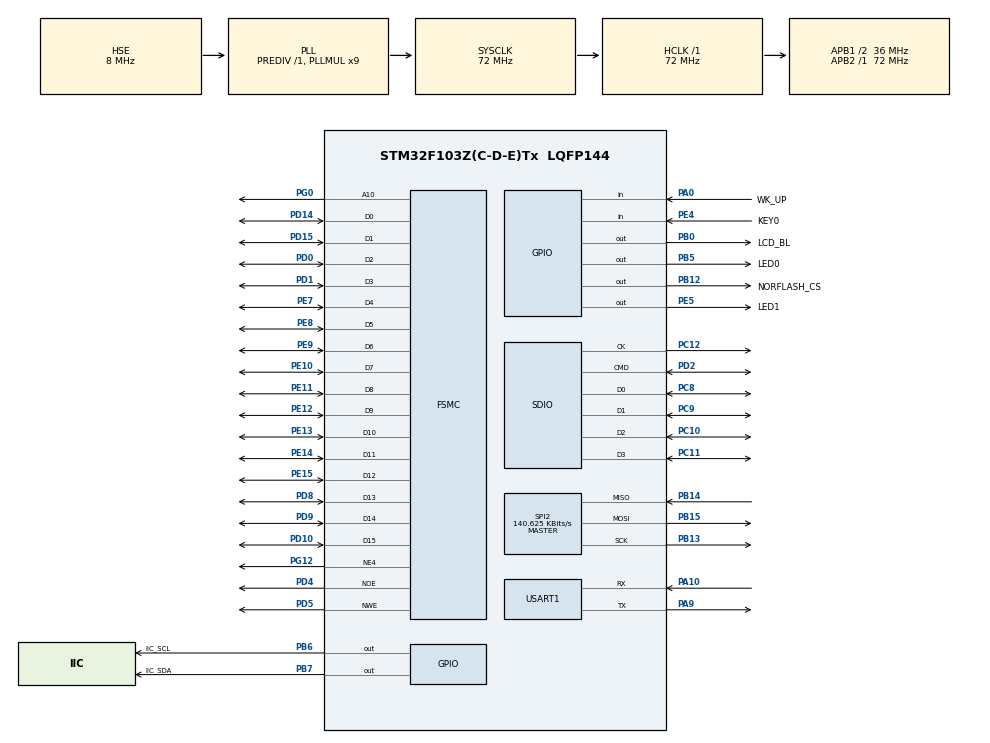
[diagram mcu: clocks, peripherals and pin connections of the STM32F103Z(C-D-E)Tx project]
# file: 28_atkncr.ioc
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FATFS._CODE_PAGE=936
FATFS._USE_LABEL=1
FATFS._USE_LFN=3
FSMC.AddressSetupTime1=0
FSMC.DataSetupTime1=15
FSMC.ExtendedAddressSetupTime1=0
FSMC.ExtendedDataSetupTime1=1
FSMC.ExtendedMode1=FSMC_EXTENDED_MODE_ENABLE
Mcu.Family=STM32F1
Mcu.Name=STM32F103Z(C-D-E)Tx
Mcu.Package=LQFP144
NVIC.PriorityGroup=NVIC_PRIORITYGROUP_2
NVIC.USART1_IRQn=true\:2\:2\:true\:false\:true\:true\:true\:true
OSC_IN.Mode=HSE-External-Oscillator
OSC_IN.Signal=RCC_OSC_IN
OSC_OUT.Mode=HSE-External-Oscillator
OSC_OUT.Signal=RCC_OSC_OUT
PA0-WKUP.GPIO_Label=WK_UP
PA0-WKUP.GPIO_PuPd=GPIO_PULLDOWN
PA0-WKUP.Signal=GPIO_Input
PA10.Mode=Asynchronous
PA10.Signal=USART1_RX
PA13.Mode=Serial_Wire
PA13.Signal=SYS_JTMS-SWDIO
PA14.Mode=Serial_Wire
PA14.Signal=SYS_JTCK-SWCLK
PA9.Mode=Asynchronous
PA9.Signal=USART1_TX
PB0.GPIO_Label=LCD_BL
PB0.GPIO_PuPd=GPIO_PULLUP
PB0.GPIO_Speed=GPIO_SPEED_FREQ_HIGH
PB0.PinState=GPIO_PIN_SET
PB0.Signal=GPIO_Output
PB12.GPIO_Label=NORFLASH_CS
PB12.GPIO_PuPd=GPIO_PULLUP
PB12.GPIO_Speed=GPIO_SPEED_FREQ_HIGH
PB12.PinState=GPIO_PIN_SET
PB12.Signal=GPIO_Output
PB13.Mode=Full_Duplex_Master
PB13.Signal=SPI2_SCK
PB14.Mode=Full_Duplex_Master
PB14.Signal=SPI2_MISO
PB15.Mode=Full_Duplex_Master
PB15.Signal=SPI2_MOSI
PB5.GPIO_Label=LED0
PB5.GPIO_PuPd=GPIO_PULLDOWN
PB5.GPIO_Speed=GPIO_SPEED_FREQ_HIGH
PB5.PinState=GPIO_PIN_SET
PB5.Signal=GPIO_Output
PB6.GPIO_Label=IIC_SCL
PB6.GPIO_PuPd=GPIO_PULLUP
PB6.GPIO_Speed=GPIO_SPEED_FREQ_HIGH
PB6.PinState=GPIO_PIN_SET
PB6.Signal=GPIO_Output
PB7.GPIO_Label=IIC_SDA
PB7.GPIO_PuPd=GPIO_PULLUP
PB7.GPIO_Speed=GPIO_SPEED_FREQ_HIGH
PB7.PinState=GPIO_PIN_SET
PB7.Signal=GPIO_Output
PC10.Mode=SD_4_bits_Wide_bus
PC10.Signal=SDIO_D2
PC11.Mode=SD_4_bits_Wide_bus
PC11.Signal=SDIO_D3
PC12.Mode=SD_4_bits_Wide_bus
PC12.Signal=SDIO_CK
PC14-OSC32_IN.Mode=LSE-External-Oscillator
PC14-OSC32_IN.Signal=RCC_OSC32_IN
PC15-OSC32_OUT.Mode=LSE-External-Oscillator
PC15-OSC32_OUT.Signal=RCC_OSC32_OUT
PC8.Mode=SD_4_bits_Wide_bus
PC8.Signal=SDIO_D0
PC9.Mode=SD_4_bits_Wide_bus
PC9.Signal=SDIO_D1
PD0.Signal=FSMC_D2_DA2
PD1.Signal=FSMC_D3_DA3
PD10.Signal=FSMC_D15_DA15
PD14.Signal=FSMC_D0_DA0
PD15.Signal=FSMC_D1_DA1
PD2.Mode=SD_4_bits_Wide_bus
PD2.Signal=SDIO_CMD
PD4.Signal=FSMC_NOE
PD5.Signal=FSMC_NWE
PD8.Signal=FSMC_D13_DA13
PD9.Signal=FSMC_D14_DA14
PE10.Signal=FSMC_D7_DA7
PE11.Signal=FSMC_D8_DA8
PE12.Signal=FSMC_D9_DA9
PE13.Signal=FSMC_D10_DA10
PE14.Signal=FSMC_D11_DA11
PE15.Signal=FSMC_D12_DA12
PE4.GPIO_Label=KEY0
PE4.GPIO_PuPd=GPIO_PULLDOWN
PE4.Signal=GPIO_Input
PE5.GPIO_Label=LED1
PE5.GPIO_PuPd=GPIO_PULLDOWN
PE5.GPIO_Speed=GPIO_SPEED_FREQ_HIGH
PE5.PinState=GPIO_PIN_SET
PE5.Signal=GPIO_Output
PE7.Signal=FSMC_D4_DA4
PE8.Signal=FSMC_D5_DA5
PE9.Signal=FSMC_D6_DA6
PG0.Signal=FSMC_A10
PG12.Mode=NorPsramChipSelect4_1
PG12.Signal=FSMC_NE4
ProjectManager.HeapSize=0x1000
ProjectManager.StackSize=0x400
ProjectManager.TargetToolchain=STM32CubeIDE
RCC.AHBFreq_Value=72000000
RCC.APB1CLKDivider=RCC_HCLK_DIV2
RCC.APB1Freq_Value=36000000
RCC.APB1TimFreq_Value=72000000
RCC.APB2Freq_Value=72000000
RCC.APB2TimFreq_Value=72000000
RCC.HCLKFreq_Value=72000000
RCC.PLLMUL=RCC_PLL_MUL9
RCC.PLLSourceVirtual=RCC_PLLSOURCE_HSE
RCC.SYSCLKFreq_VALUE=72000000
RCC.SYSCLKSource=RCC_SYSCLKSOURCE_PLLCLK
RCC.USBFreq_Value=72000000
SDIO.ClockDiv=0x06
SDIO.HardwareFlowControl=SDIO_HARDWARE_FLOW_CONTROL_ENABLE
SH.FSMC_A10.0=FSMC_A10,A10_1
SH.FSMC_D0_DA0.0=FSMC_D0,16b-d1
SH.FSMC_D10_DA10.0=FSMC_D10,16b-d1
SH.FSMC_D11_DA11.0=FSMC_D11,16b-d1
SH.FSMC_D12_DA12.0=FSMC_D12,16b-d1
SH.FSMC_D13_DA13.0=FSMC_D13,16b-d1
SH.FSMC_D14_DA14.0=FSMC_D14,16b-d1
SH.FSMC_D15_DA15.0=FSMC_D15,16b-d1
SH.FSMC_D1_DA1.0=FSMC_D1,16b-d1
SH.FSMC_D2_DA2.0=FSMC_D2,16b-d1
SH.FSMC_D3_DA3.0=FSMC_D3,16b-d1
SH.FSMC_D4_DA4.0=FSMC_D4,16b-d1
SH.FSMC_D5_DA5.0=FSMC_D5,16b-d1
SH.FSMC_D6_DA6.0=FSMC_D6,16b-d1
SH.FSMC_D7_DA7.0=FSMC_D7,16b-d1
SH.FSMC_D8_DA8.0=FSMC_D8,16b-d1
SH.FSMC_D9_DA9.0=FSMC_D9,16b-d1
SH.FSMC_NOE.0=FSMC_NOE,Lcd1
SH.FSMC_NWE.0=FSMC_NWE,Lcd1
SPI2.BaudRatePrescaler=SPI_BAUDRATEPRESCALER_256
SPI2.CLKPhase=SPI_PHASE_2EDGE
SPI2.CLKPolarity=SPI_POLARITY_HIGH
SPI2.CalculateBaudRate=140.625 KBits/s
SPI2.Direction=SPI_DIRECTION_2LINES
SPI2.Mode=SPI_MODE_MASTER
SPI2.VirtualType=VM_MASTER
USART1.VirtualMode=VM_ASYNC
VP_FATFS_VS_Generic.Mode=User_defined
board=custom

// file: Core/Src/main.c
/* USER CODE BEGIN Header */
/**
 ****************************************************************************************************
 * @file        main.c
 * @author      ALIENTEK
 * @brief       handwriting recognition code
 * @license     Copyright (C) 2012-2024, ALIENTEK
 ****************************************************************************************************
 * @attention
 *
 * platform     : ALIENTEK M144-STM32F103 board
 * website      : www.alientek.com
 * forum        : www.openedv.com/forum.php
 *
 * change logs  :
 * version      data         notes
 * V1.0         20240410     the first version
 *
 ****************************************************************************************************
 */
/* USER CODE END Header */
#include "main.h"
#include "fatfs.h"
#include "sdio.h"
#include "spi.h"
#include "usart.h"
#include "gpio.h"
#include "fsmc.h"

/* USER CODE BEGIN Includes */
#include "../../BSP/LED/led.h"
#include "../../BSP/KEY/key.h"
#include "../../BSP/LCD/lcd.h"
#include "../../SYSTEM/delay/delay.h"
#include "../../BSP/NORFLASH/norflash.h"
#include "../../BSP/TOUCH/touch.h"
#include "../../ATK_Middlewares/MALLOC/malloc.h"
#include "../../ATK_Middlewares/ATKNCR/atk_ncr.h"
#include "../../FatFs/exfuns/exfuns.h"
#include "ff.h"
/* USER CODE END Includes */

/* USER CODE BEGIN PTD */
/* Maximum number of recorded trajectory points (input data) */
atk_ncr_point ncr_input_buf[200];
/* USER CODE END PTD */

void SystemClock_Config(void);

/* USER CODE BEGIN 0 */

/**
 * @brief Draw the thick line
 * @param   x1    : The x-coordinate of the starting point
 * @param   y1    : The Y coordinate of the starting point
 * @param   x2    : The x-coordinate of the endpoint
 * @param   y2    : The endpoint y-coordinate
 * @param   size  : The thickness of the line
 * @param   color : The color of the line
 * @retval  None
 */
static void lcd_draw_bline(uint16_t x1, uint16_t y1, uint16_t x2, uint16_t y2, uint8_t size, uint16_t color)
{
    uint16_t t;
    int xerr = 0;
    int yerr = 0;
    int delta_x;
    int delta_y;
    int distance;
    int incx;
    int incy;
    int row;
    int col;

    if ((x1 < size) || (x2 < size) || (y1 < size) || (y2 < size))
    {
        return;
    }

    /* Calculating coordinate increments */
    delta_x = x2 - x1;
    delta_y = y2 - y1;
    row = x1;
    col = y1;

    /* Set the horizontal step direction */
    if (delta_x > 0)
    {

        incx = 1;
    }
    else if (delta_x == 0)
    {
        incx = 0;
    }
    else
    {
        incx = -1;
        delta_x = -delta_x;
    }

    /* Sets the vertical single-step direction */
    if (delta_y > 0)
    {
        incy = 1;
    }
    else if (delta_y == 0)
    {
        incy = 0;
    }
    else
    {
        incy = -1;
        delta_y = -delta_y;
    }

    /* Select the basic increment axis */
    if (delta_x > delta_y)
    {
        distance = delta_x;
    }
    else
    {
        distance = delta_y;
    }

    /* Draw line */
    for (t=0; t<=(distance + 1); t++)
    {
        lcd_fill_circle(row, col, size, color);
        xerr += delta_x;
        yerr += delta_y;

        if (xerr > distance)
        {
            xerr -= distance;
            row += incx;
        }

        if (yerr > distance)
        {
            yerr -= distance;
            col += incy;
        }
    }
}

/* USER CODE END 0 */

int main(void)
{
  /* USER CODE BEGIN 1 */
	uint32_t t = 0;
	uint8_t tcnt;
	uint8_t key;
	uint8_t mode = 4;
	uint16_t lastpos[2];
	uint16_t pcnt = 0;
	char sbuf[10];
  /* USER CODE END 1 */

  /* MCU Configuration--------------------------------------------------------*/

  /* Reset of all peripherals, Initializes the Flash interface and the Systick. */
  HAL_Init();

  /* Configure the system clock */
  SystemClock_Config();

  /* Initialize all configured peripherals */
  MX_GPIO_Init();
  MX_USART1_UART_Init();
  MX_FSMC_Init();
  MX_SDIO_SD_Init();
  MX_SPI2_Init();
  MX_FATFS_Init();
  /* USER CODE BEGIN 2 */

  lcd_init();                         /* Initialize LCD */
  tp_dev.init();                      /* Initialize Touch */
  my_mem_init(SRAMIN);                /* Initialize the internal SRAM memory pool */
  exfuns_init();                      /* Request memory for exfuns */
  f_mount(fs[0], "0:", 1);            /* Mount SD card */
  f_mount(fs[1], "1:", 1);            /* Mount NOR Flash */
  alientek_ncr_init();                /* Initialize handwriting recognition */

RESTART:
  lcd_show_string(30, 10, 200, 16, 16, "STM32", RED);
  lcd_show_string(30, 30, 200, 16, 16, "ATKNCR TEST", RED);
  lcd_show_string(30, 50, 200, 16, 16, "ATOM@ALIENTEK", RED);
  lcd_show_string(30, 70, 200, 16, 16, "WKUP: Adjust KEY0: Mode", RED);
  lcd_show_string(30, 90, 200, 16, 16, "Identify the result:", RED);

  lcd_draw_rectangle(19, 110, lcddev.width - 20, lcddev.height - 5, RED);
  lcd_show_string(96, 130, 200, 16, 16, "Handwriting area", BLUE);
  tcnt = 100;

  /* USER CODE END 2 */

  /* Infinite loop */
  while (1)
  {
	  key = key_scan(0);
	  if (key == WKUP_PRES)
	  {
	      /* Touch calibration of capacitive screen */
	      if ((tp_dev.touchtype & 0x80) == 0)
	      {
	         tp_adjust();
	         goto RESTART;
	      }
	  }
	  else if (key == KEY0_PRES)
	  {
	      /* Switch recognition mode */
	      lcd_fill(20, 115, 219, 315, WHITE);
	      tcnt = 100;
	      if (++mode > 4)
	      {
	         mode = 1;
	      }

	      if (mode == 1)
	      {
	    	  lcd_show_string(30, 207, 200, 16, 16, "Recognize digits only", BLUE);
	      }
	      else if (mode == 2)
	      {
	    	  lcd_show_string(20, 207, 200, 16, 16, "Recognize capital letters only", BLUE);
	      }
	      else if (mode == 3)
	      {
	    	  lcd_show_string(30, 207, 200, 16, 16, "Lowercase letters only", BLUE);
	      }
	      else if (mode == 4)
	      {
	    	  lcd_show_string(30, 207, 200, 16, 16, "All recognition", BLUE);
	      }
	  }

	  tp_dev.scan(0);
	  if (tp_dev.sta & TP_PRES_DOWN)
	  {
	      /* There are touches, and the touch trace is displayed and recorded */
	      tcnt = 0;

	      if (((tp_dev.x[0] < (lcddev.width - 20 - 2)) && (tp_dev.x[0] >= (20 + 2))) &&
	           ((tp_dev.y[0] < (lcddev.height - 5 - 2)) && (tp_dev.y[0] >= (115 + 2))))
	      {
	          if (lastpos[0] == 0xFFFF)
	          {
	              lastpos[0] = tp_dev.x[0];
	              lastpos[1] = tp_dev.y[0];
	          }

	          lcd_draw_bline(lastpos[0], lastpos[1], tp_dev.x[0], tp_dev.y[0], 2, BLUE);
	          lastpos[0] = tp_dev.x[0];
	          lastpos[1] = tp_dev.y[0];
	          if (pcnt < 200)
	          {
	              if (pcnt != 0)
	              {
	                  if ((ncr_input_buf[pcnt - 1].y != tp_dev.y[0]) &&
	                      (ncr_input_buf[pcnt - 1].x != tp_dev.x[0]))
	                  {
	                      ncr_input_buf[pcnt].x = tp_dev.x[0];
	                      ncr_input_buf[pcnt].y = tp_dev.y[0];
	                      pcnt++;
	                  }
	              }
	              else
	              {
	                  ncr_input_buf[pcnt].x = tp_dev.x[0];
	                  ncr_input_buf[pcnt].y = tp_dev.y[0];
	                  pcnt++;
	              }
	          }
	      }
	   }
	   else
	   {
	       /* The touch is released for handwriting recognition */
	       lastpos[0] = 0xFFFF;
	       tcnt++;
	       if (tcnt == 40)
	       {
	          if (pcnt != 0)
	          {
	              printf("Total points:%d\r\n", pcnt);
	              alientek_ncr(ncr_input_buf, pcnt, 6, mode, sbuf);
	              printf("identify the result:%s\r\n", sbuf);
	              pcnt = 0;
	               lcd_show_string(60 + 72, 90, 200, 16, 16, sbuf, BLUE);
	           }
	           lcd_fill(20, 115, lcddev.width - 20 - 1, lcddev.height - 5 - 1, WHITE);
	       }
	    }

	t++;
	if (t % 20 == 0)
	{
	   LED0_TOGGLE(); /* flashing LED0 indicates that the system is running */
	}

	HAL_Delay(10);    /* delay 10ms */

  }
}

void SystemClock_Config(void)
{
  RCC_OscInitTypeDef RCC_OscInitStruct = {0};
  RCC_ClkInitTypeDef RCC_ClkInitStruct = {0};

  /** Initializes the RCC Oscillators according to the specified parameters
  * in the RCC_OscInitTypeDef structure.
  */
  RCC_OscInitStruct.OscillatorType = RCC_OSCILLATORTYPE_HSE;
  RCC_OscInitStruct.HSEState = RCC_HSE_ON;
  RCC_OscInitStruct.HSEPredivValue = RCC_HSE_PREDIV_DIV1;
  RCC_OscInitStruct.HSIState = RCC_HSI_ON;
  RCC_OscInitStruct.PLL.PLLState = RCC_PLL_ON;
  RCC_OscInitStruct.PLL.PLLSource = RCC_PLLSOURCE_HSE;
  RCC_OscInitStruct.PLL.PLLMUL = RCC_PLL_MUL9;
  if (HAL_RCC_OscConfig(&RCC_OscInitStruct) != HAL_OK)
  {
    Error_Handler();
  }

  /** Initializes the CPU, AHB and APB buses clocks
  */
  RCC_ClkInitStruct.ClockType = RCC_CLOCKTYPE_HCLK|RCC_CLOCKTYPE_SYSCLK
                              |RCC_CLOCKTYPE_PCLK1|RCC_CLOCKTYPE_PCLK2;
  RCC_ClkInitStruct.SYSCLKSource = RCC_SYSCLKSOURCE_PLLCLK;
  RCC_ClkInitStruct.AHBCLKDivider = RCC_SYSCLK_DIV1;
  RCC_ClkInitStruct.APB1CLKDivider = RCC_HCLK_DIV2;
  RCC_ClkInitStruct.APB2CLKDivider = RCC_HCLK_DIV1;

  if (HAL_RCC_ClockConfig(&RCC_ClkInitStruct, FLASH_LATENCY_2) != HAL_OK)
  {
    Error_Handler();
  }
}

void Error_Handler(void)
{
  __disable_irq();
  while (1)
  {
  }
}
